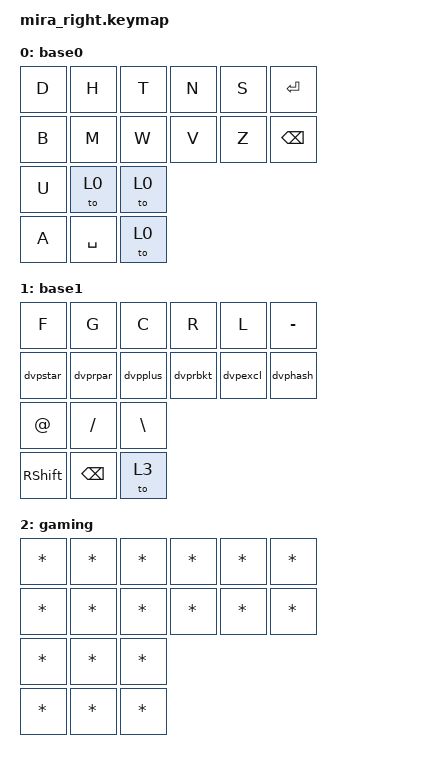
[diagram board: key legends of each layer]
#include <behaviors.dtsi>
#include <dt-bindings/zmk/keys.h>
#include <dt-bindings/zmk/bt.h>

/ {
        keymap {
                compatible = "zmk,keymap";

                base0 {
                        bindings = <
                                &kp D &kp H     &kp T &kp N &kp S &kp RET
                                &kp B &kp M     &kp W &kp V &kp Z &kp BSPC
                                &kp U &to 0     &to 0
                                &kp A &kp SPACE &to 0
                        >;
                };

		base1 {
			bindings = <
				&kp F     &kp G    &kp C    &kp R    &kp L    &kp MINUS
				&dvpstar  &dvprpar &dvpplus &dvprbkt &dvpexcl &dvphash
				&kp AT    &kp FSLH &kp BSLH
				&kp RSHFT &kp BSPC &to 3
			>;
		};

		gaming {
			bindings = <
				&kp STAR &kp STAR &kp STAR &kp STAR &kp STAR &kp STAR
				&kp STAR &kp STAR &kp STAR &kp STAR &kp STAR &kp STAR
				&kp STAR &kp STAR &kp STAR
				&kp STAR &kp STAR &kp STAR
			>;
		};
    };
};

/ {
    behaviors {
        dvpstar: dvp_star {
            compatible = "zmk,behavior-mod-morph";
            #binding-cells = <0>;
            bindings = <&kp STAR>, <&kp N0>;
            mods = <(MOD_LSFT)>;
        };
        dvprpar: dvp_rpar {
            compatible = "zmk,behavior-mod-morph";
            #binding-cells = <0>;
            bindings = <&kp RPAR>, <&kp N2>;
            mods = <(MOD_LSFT)>;
        };
        dvpplus: dvp_plus {
            compatible = "zmk,behavior-mod-morph";
            #binding-cells = <0>;
            bindings = <&kp PLUS>, <&kp N4>;
            mods = <(MOD_LSFT)>;
        };
        dvprbkt: dvp_rbkt {
            compatible = "zmk,behavior-mod-morph";
            #binding-cells = <0>;
            bindings = <&kp RBKT>, <&kp N6>;
            mods = <(MOD_LSFT)>;
        };
        dvpexcl: dvp_excl {
            compatible = "zmk,behavior-mod-morph";
            #binding-cells = <0>;
            bindings = <&kp EXCL>, <&kp N8>;
            mods = <(MOD_LSFT)>;
        };
        dvphash: dvp_hash {
            compatible = "zmk,behavior-mod-morph";
            #binding-cells = <0>;
            bindings = <&kp HASH>, <&kp GRAVE>;
            mods = <(MOD_LSFT)>;
        };
    };
};
